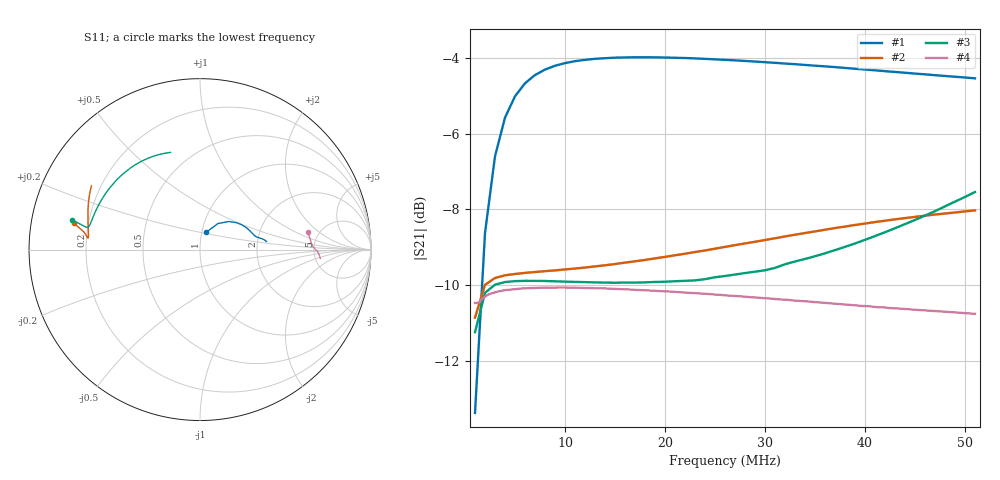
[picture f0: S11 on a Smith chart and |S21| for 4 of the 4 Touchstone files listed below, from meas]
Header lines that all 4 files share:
# MHz S RI R 50
! S-Parameters data
! Freq  reS11  imS11  reS21  imS21  reS12  imS12  reS22  imS22
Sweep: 1 MHz to 51 MHz
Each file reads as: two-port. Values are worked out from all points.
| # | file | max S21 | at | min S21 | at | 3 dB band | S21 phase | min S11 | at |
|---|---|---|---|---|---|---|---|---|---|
| 1 | SBC_6a.s2p | -3.97 dB | 18 MHz | -13.4 dB | 1 MHz | 3 MHz-51 MHz | 1 deg at 26 MHz | -19.4 dB | 1 MHz |
| 2 | SBC_8.s2p | -8.03 dB | 51 MHz | -10.9 dB | 1 MHz | 1 MHz-51 MHz | 131 deg at 26 MHz | -3.6 dB | 8 MHz |
| 3 | SBC_9.s2p | -7.54 dB | 51 MHz | -11.2 dB | 1 MHz | 2 MHz-51 MHz | 122 deg at 26 MHz | -4.5 dB | 51 MHz |
| 4 | SBC_3577_1.s2p | -10.06 dB | 9.25 MHz | -10.8 dB | 51 MHz | 1 MHz-51 MHz | -8 deg at 26 MHz | -3.9 dB | 1.125 MHz |
